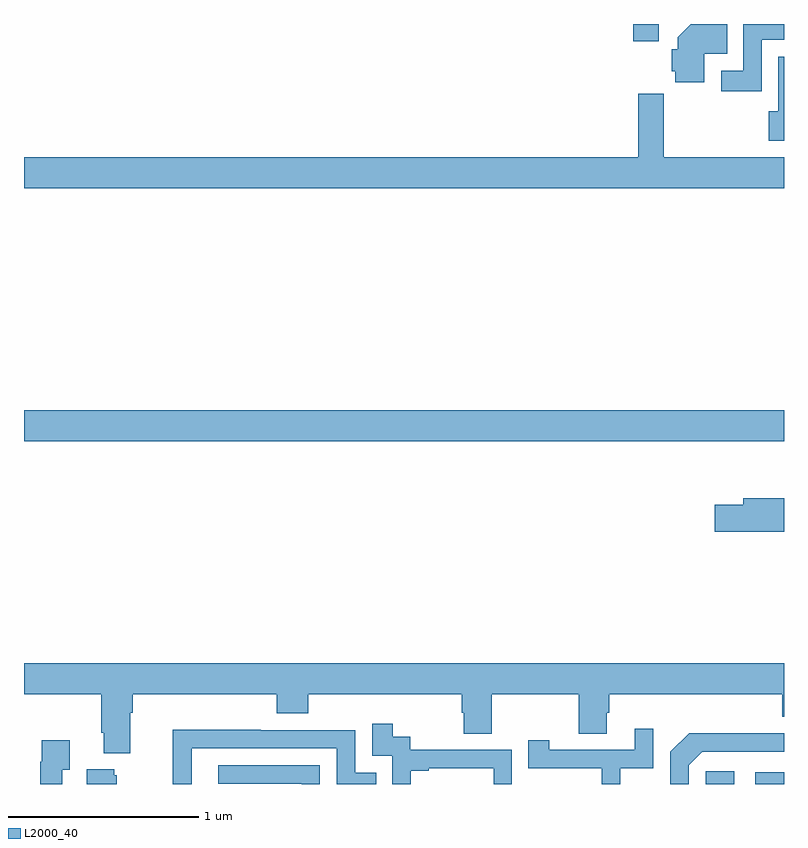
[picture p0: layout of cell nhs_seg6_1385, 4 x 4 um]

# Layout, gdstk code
import gdstk
lib = gdstk.Library(unit=1e-6, precision=1e-09)
def R(c, l, rs):  # rectangles x0, y0, x1, y1
    for r in rs: c.add(gdstk.rectangle(r[:2], r[2:], *l))
def P(c, l, *ps):  # polygons
    for p in ps: c.add(gdstk.Polygon(p, *l))
L2000_40 = (2000, 40)

nhs_seg6_1385 = lib.new_cell('nhs_seg6_1385')
R(nhs_seg6_1385, L2000_40, [(198.588,977.5,198.739,977.566), (198.849,977.5,199,977.562), (195,979.304,199,979.468), (198.206,981.408,198.34,981.5)])
P(nhs_seg6_1385, L2000_40, [(198.882,981.416),(199,981.416),(199,981.5),(198.786,981.5),(198.786,981.255),(198.669,981.255),(198.669,981.147),(198.882,981.147)],
  [(198.58,981.344),(198.701,981.344),(198.701,981.5),(198.51,981.5),(198.44,981.43),(198.44,981.366),(198.41,981.366),(198.41,981.252),(198.428,981.252),(198.428,981.194),(198.58,981.194)],
  [(199,981.328),(198.971,981.328),(198.971,981.042),(198.92,981.042),(198.92,980.886),(199,980.886)],
  [(199,980.8),(198.368,980.8),(198.368,981.133),(198.232,981.133),(198.232,980.8),(195,980.8),(195,980.636),(199,980.636)],
  [(199,979.003),(198.785,979.003),(198.785,978.969),(198.636,978.969),(198.636,978.827),(199,978.827)],
  [(195.559,977.876),(195.572,977.876),(195.572,977.972),(196.331,977.972),(196.331,977.873),(196.496,977.873),(196.496,977.972),(197.303,977.972),(197.303,977.874),(197.315,977.874),(197.315,977.764),(197.463,977.764),(197.463,977.972),(197.92,977.972),(197.92,977.764),(198.067,977.764),(198.067,977.874),(198.08,977.874),(198.08,977.972),(198.992,977.972),(198.992,977.855),(199,977.855),(199,978.136),(195,978.136),(195,977.972),(195.407,977.972),(195.407,977.77),(195.419,977.77),(195.419,977.663),(195.559,977.663)],
  [(197.036,977.571),(197.131,977.571),(197.131,977.583),(197.472,977.583),(197.472,977.5),(197.568,977.5),(197.568,977.679),(197.034,977.679),(197.034,977.748),(196.942,977.748),(196.942,977.818),(196.833,977.818),(196.833,977.649),(196.938,977.649),(196.938,977.5),(197.036,977.5)],
  [(198.138,977.583),(198.312,977.583),(198.312,977.791),(198.215,977.791),(198.215,977.679),(197.764,977.679),(197.764,977.731),(197.653,977.731),(197.653,977.583),(198.042,977.583),(198.042,977.5),(198.138,977.5)],
  [(195.882,977.688),(196.647,977.688),(196.647,977.5),(196.853,977.5),(196.853,977.559),(196.743,977.559),(196.743,977.784),(196.247,977.784),(196.247,977.786),(195.784,977.786),(195.784,977.5),(195.882,977.5)],
  [(198.498,977.598),(198.57,977.67),(199,977.67),(199,977.766),(198.908,977.766),(198.908,977.768),(198.5,977.768),(198.402,977.67),(198.402,977.5),(198.498,977.5)],
  [(195.201,977.575),(195.241,977.575),(195.241,977.731),(195.093,977.731),(195.093,977.618),(195.085,977.618),(195.085,977.5),(195.201,977.5)],
  [(196.557,977.598),(196.023,977.598),(196.023,977.502),(196.461,977.502),(196.461,977.5),(196.557,977.5)],
  [(195.487,977.547),(195.476,977.547),(195.476,977.578),(195.329,977.578),(195.329,977.5),(195.487,977.5)])

lib.write_gds('nhs_seg6_1385.gds')
